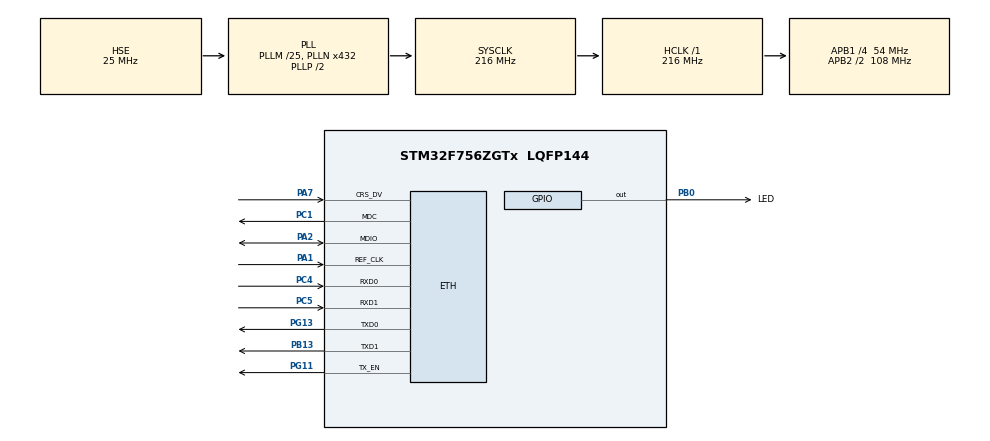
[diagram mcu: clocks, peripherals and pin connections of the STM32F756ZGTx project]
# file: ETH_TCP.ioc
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Mcu.Family=STM32F7
VP_SYS_VS_tim6.Mode=TIM6
RCC.CortexFreq_Value=216000000
CORTEX_M7.BaseAddress-Cortex_Memory_Protection_Unit_Region3_Settings=0x90000000
NVIC.TIM6_DAC_IRQn=true\:0\:0\:false\:false\:true\:false\:false\:true
CORTEX_M7.TypeExtField-Cortex_Memory_Protection_Unit_Region0_Settings=MPU_TEX_LEVEL1
CORTEX_M7.PREFETCH_ENABLE=1
CORTEX_M7.AccessPermission-Cortex_Memory_Protection_Unit_Region2_Settings=MPU_REGION_FULL_ACCESS
PB0.GPIO_Label=LED
PC5.Mode=RMII
PB13.Signal=ETH_TXD1
PG13.Signal=ETH_TXD0
PG11.Signal=ETH_TX_EN
CORTEX_M7.IsBufferable-Cortex_Memory_Protection_Unit_Region3_Settings=MPU_ACCESS_BUFFERABLE
RCC.SYSCLKSource=RCC_SYSCLKSOURCE_PLLCLK
ProjectManager.StackSize=0x400
VP_FREERTOS_VS_CMSIS_V2.Mode=CMSIS_V2
LWIP.NETMASK_ADDRESS=255.255.255.000
CORTEX_M7.Enable-Cortex_Memory_Protection_Unit_Region0_Settings=MPU_REGION_ENABLE
PB0.PinState=GPIO_PIN_RESET
PH0/OSC_IN.Mode=HSE-External-Oscillator
RCC.HCLKFreq_Value=216000000
RCC.APB2TimFreq_Value=216000000
PH1/OSC_OUT.Signal=RCC_OSC_OUT
RCC.AHBFreq_Value=216000000
NVIC.ETH_IRQn=true\:5\:0\:false\:false\:true\:true\:true\:true
RCC.HSE_VALUE=25000000
CORTEX_M7.Size-Cortex_Memory_Protection_Unit_Region2_Settings=MPU_REGION_SIZE_16MB
CORTEX_M7.IsCacheable-Cortex_Memory_Protection_Unit_Region2_Settings=MPU_ACCESS_CACHEABLE
LWIP.MEM_SIZE=10*1024
PG13.Mode=RMII
PH1/OSC_OUT.Mode=HSE-External-Oscillator
CORTEX_M7.DisableExec-Cortex_Memory_Protection_Unit_Region0_Settings=MPU_INSTRUCTION_ACCESS_DISABLE
CORTEX_M7.DisableExec-Cortex_Memory_Protection_Unit_Region1_Settings=MPU_INSTRUCTION_ACCESS_DISABLE
Mcu.Package=LQFP144
FREERTOS.configUSE_NEWLIB_REENTRANT=1
NVIC.TimeBase=TIM6_DAC_IRQn
CORTEX_M7.BaseAddress-Cortex_Memory_Protection_Unit_Region1_Settings=0x90000000
NVIC.TimeBaseIP=TIM6
CORTEX_M7.Size-Cortex_Memory_Protection_Unit_Region1_Settings=MPU_REGION_SIZE_512MB
RCC.APB2CLKDivider=RCC_HCLK_DIV2
RCC.APB1TimFreq_Value=108000000
CORTEX_M7.Enable-Cortex_Memory_Protection_Unit_Region1_Settings=MPU_REGION_ENABLE
PC5.Signal=ETH_RXD1
PB13.Mode=RMII
PC4.Mode=RMII
LWIP.IP_ADDRESS=192.168.002.040
RCC.PLLSourceVirtual=RCC_PLLSOURCE_HSE
CORTEX_M7.AccessPermission-Cortex_Memory_Protection_Unit_Region3_Settings=MPU_REGION_FULL_ACCESS
CORTEX_M7.CPU_ICache=Enabled
FREERTOS.Tasks01=defaultTask,24,1024,StartDefaultTask,Default,NULL,Dynamic,NULL,NULL
PA7.Mode=RMII
CORTEX_M7.IsBufferable-Cortex_Memory_Protection_Unit_Region2_Settings=MPU_ACCESS_BUFFERABLE
PC4.Signal=ETH_RXD0
LWIP.LWIP_DHCP=0
RCC.APB1CLKDivider=RCC_HCLK_DIV4
ETH.PhyAddress=0
CORTEX_M7.BaseAddress-Cortex_Memory_Protection_Unit_Region2_Settings=0x90000000
VP_LWIP_VS_Enabled.Mode=Enabled
LWIP.GATEWAY_ADDRESS=192.168.002.254
CORTEX_M7.MPU_Control=MPU_PRIVILEGED_DEFAULT
ProjectManager.TargetToolchain=STM32CubeIDE
CORTEX_M7.IsCacheable-Cortex_Memory_Protection_Unit_Region3_Settings=MPU_ACCESS_CACHEABLE
CORTEX_M7.BaseAddress-Cortex_Memory_Protection_Unit_Region0_Settings=0x20010000
RCC.USBFreq_Value=216000000
RCC.LSE_VALUE=32768
PA1.Signal=ETH_REF_CLK
CORTEX_M7.Enable-Cortex_Memory_Protection_Unit_Region2_Settings=MPU_REGION_ENABLE
board=custom
RCC.VCOOutputFreq_Value=432000000
PH0/OSC_IN.Signal=RCC_OSC_IN
RCC.APB2Freq_Value=108000000
PA1.Mode=RMII
CORTEX_M7.IsShareable-Cortex_Memory_Protection_Unit_Region0_Settings=MPU_ACCESS_SHAREABLE
CORTEX_M7.AccessPermission-Cortex_Memory_Protection_Unit_Region0_Settings=MPU_REGION_FULL_ACCESS
Mcu.Name=STM32F756ZGTx
CORTEX_M7.Size-Cortex_Memory_Protection_Unit_Region0_Settings=MPU_REGION_SIZE_16KB
PA2.Signal=ETH_MDIO
RCC.SYSCLKFreq_VALUE=216000000
ETH.MediaInterface=ETH_MEDIA_INTERFACE_RMII
PG11.Mode=RMII
ProjectManager.HeapSize=0x200
LWIP.Version=v2.1.2_Cube
CORTEX_M7.Enable-Cortex_Memory_Protection_Unit_Region3_Settings=MPU_REGION_ENABLE
CORTEX_M7.Size-Cortex_Memory_Protection_Unit_Region3_Settings=MPU_REGION_SIZE_1MB
RCC.HSI_VALUE=16000000
CORTEX_M7.DisableExec-Cortex_Memory_Protection_Unit_Region2_Settings=MPU_INSTRUCTION_ACCESS_DISABLE
NVIC.PriorityGroup=NVIC_PRIORITYGROUP_4
RCC.PLLM=25
RCC.PLLN=432
PA2.Mode=RMII
CORTEX_M7.CPU_DCache=Enabled
RCC.APB1Freq_Value=54000000
PB0.Signal=GPIO_Output
PC1.Signal=ETH_MDC
PB0.GPIO_PuPd=GPIO_NOPULL
PC1.Mode=RMII
PA7.Signal=ETH_CRS_DV

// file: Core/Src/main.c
/* USER CODE BEGIN Header */
/**
  ******************************************************************************
  * @file           : main.c
  * @brief          : Main program body
  ******************************************************************************
  * @attention
  *
  * <h2><center>&copy; Copyright (c) 2025 STMicroelectronics.
  * All rights reserved.</center></h2>
  *
  * This software component is licensed by ST under BSD 3-Clause license,
  * the "License"; You may not use this file except in compliance with the
  * License. You may obtain a copy of the License at:
  *                        opensource.org/licenses/BSD-3-Clause
  *
  ******************************************************************************
  */
/* USER CODE END Header */
#include "main.h"
#include "cmsis_os.h"
#include "lwip.h"

/* USER CODE BEGIN Includes */
#include "TCPClient.h"
#include "TCPServer.h"

/* USER CODE END Includes */

/* Definitions for defaultTask */
osThreadId_t defaultTaskHandle;

const osThreadAttr_t defaultTask_attributes = {
  .name = "defaultTask",
  .stack_size = 1024 * 4,
  .priority = (osPriority_t) osPriorityNormal,
};

/* USER CODE BEGIN PV */
osThreadId_t clientTaskHandle;

const osThreadAttr_t clientTask_attributes = {
  .name = "clientTask",
  .stack_size = 1024*4,
    .priority = (osPriority_t) osPriorityNormal,
};

const osThreadAttr_t lwipPump_attributes = {
  .name = "LwipInput",
  .stack_size = 1024 * 4,
  .priority = (osPriority_t) osPriorityHigh,
};

/* USER CODE END PV */

void SystemClock_Config(void);
static void MPU_Config(void);
static void MX_GPIO_Init(void);
void StartDefaultTask(void *argument);

/* USER CODE BEGIN PFP */
void LwipInputTask(void *argument);

/* USER CODE END PFP */

/* USER CODE BEGIN 0 */
extern struct netif gnetif;

/* USER CODE END 0 */

int main(void)
{

  /* MPU Configuration--------------------------------------------------------*/
  MPU_Config();

  /* Enable I-Cache---------------------------------------------------------*/
  SCB_EnableICache();

  /* Enable D-Cache---------------------------------------------------------*/
  SCB_EnableDCache();

  /* MCU Configuration--------------------------------------------------------*/

  /* Reset of all peripherals, Initializes the Flash interface and the Systick. */
  HAL_Init();

  /* Configure the system clock */
  SystemClock_Config();

  /* Initialize all configured peripherals */
  MX_GPIO_Init();
  /* USER CODE BEGIN 2 */
  /* Start DHCP client */

  /* USER CODE END 2 */

  /* Init scheduler */
  osKernelInitialize();

  /* Create the thread(s) */
  /* creation of defaultTask */

  defaultTaskHandle = osThreadNew(StartDefaultTask, NULL, &defaultTask_attributes);

  /* Start scheduler */
  osKernelStart();

  /* We should never get here as control is now taken by the scheduler */
  /* Infinite loop */
  while (1)
  {

  }
}

void SystemClock_Config(void)
{
  RCC_OscInitTypeDef RCC_OscInitStruct = {0};
  RCC_ClkInitTypeDef RCC_ClkInitStruct = {0};

  /** Configure the main internal regulator output voltage
  */
  __HAL_RCC_PWR_CLK_ENABLE();
  __HAL_PWR_VOLTAGESCALING_CONFIG(PWR_REGULATOR_VOLTAGE_SCALE1);
  /** Initializes the RCC Oscillators according to the specified parameters
  * in the RCC_OscInitTypeDef structure.
  */
  RCC_OscInitStruct.OscillatorType = RCC_OSCILLATORTYPE_HSE;
  RCC_OscInitStruct.HSEState = RCC_HSE_ON;
  RCC_OscInitStruct.PLL.PLLState = RCC_PLL_ON;
  RCC_OscInitStruct.PLL.PLLSource = RCC_PLLSOURCE_HSE;
  RCC_OscInitStruct.PLL.PLLM = 25;
  RCC_OscInitStruct.PLL.PLLN = 432;
  RCC_OscInitStruct.PLL.PLLP = RCC_PLLP_DIV2;
  RCC_OscInitStruct.PLL.PLLQ = 2;
  if (HAL_RCC_OscConfig(&RCC_OscInitStruct) != HAL_OK)
  {
    Error_Handler();
  }
  /** Activate the Over-Drive mode
  */
  if (HAL_PWREx_EnableOverDrive() != HAL_OK)
  {
    Error_Handler();
  }
  /** Initializes the CPU, AHB and APB buses clocks
  */
  RCC_ClkInitStruct.ClockType = RCC_CLOCKTYPE_HCLK|RCC_CLOCKTYPE_SYSCLK
                              |RCC_CLOCKTYPE_PCLK1|RCC_CLOCKTYPE_PCLK2;
  RCC_ClkInitStruct.SYSCLKSource = RCC_SYSCLKSOURCE_PLLCLK;
  RCC_ClkInitStruct.AHBCLKDivider = RCC_SYSCLK_DIV1;
  RCC_ClkInitStruct.APB1CLKDivider = RCC_HCLK_DIV4;
  RCC_ClkInitStruct.APB2CLKDivider = RCC_HCLK_DIV2;

  if (HAL_RCC_ClockConfig(&RCC_ClkInitStruct, FLASH_LATENCY_7) != HAL_OK)
  {
    Error_Handler();
  }
}

static void MX_GPIO_Init(void)
{
  GPIO_InitTypeDef GPIO_InitStruct = {0};

  /* GPIO Ports Clock Enable */
  __HAL_RCC_GPIOH_CLK_ENABLE();
  __HAL_RCC_GPIOC_CLK_ENABLE();
  __HAL_RCC_GPIOA_CLK_ENABLE();
  __HAL_RCC_GPIOB_CLK_ENABLE();
  __HAL_RCC_GPIOG_CLK_ENABLE();

  /*Configure GPIO pin Output Level */
  HAL_GPIO_WritePin(LED_GPIO_Port, LED_Pin, GPIO_PIN_RESET);

  /*Configure GPIO pin : LED_Pin */
  GPIO_InitStruct.Pin = LED_Pin;
  GPIO_InitStruct.Mode = GPIO_MODE_OUTPUT_PP;
  GPIO_InitStruct.Pull = GPIO_NOPULL;
  GPIO_InitStruct.Speed = GPIO_SPEED_FREQ_LOW;
  HAL_GPIO_Init(LED_GPIO_Port, &GPIO_InitStruct);

}

/* USER CODE BEGIN 4 */
void LwipInputTask(void *argument)
{
    for(;;)
    {
        ethernetif_input(&gnetif);   // lees inkomende frames
        sys_check_timeouts();        // verwerk LWIP timers
        osDelay(1);
    }
}
/* USER CODE END 4 */

void StartDefaultTask(void *argument)
{
  /* init code for LWIP */
  MX_LWIP_Init();
  /* USER CODE BEGIN 5 */

  /* Wait for Ethernet link up */
  while(!netif_is_link_up(&gnetif)) {
      osDelay(100);

  }
  printf("Ethernet link is up!\r\n");

  tcp_server_init();

  // Start server and client
  clientTaskHandle  = osThreadNew(tcp_client, NULL, &clientTask_attributes);
  /* Infinite loop */
  for(;;)
  {
      osDelay(500);
  }
  /* USER CODE END 5 */
}

/* MPU Configuration */

void MPU_Config(void)
{
  MPU_Region_InitTypeDef MPU_InitStruct = {0};

  /* Disables the MPU */
  HAL_MPU_Disable();
  /** Initializes and configures the Region and the memory to be protected
  */
  MPU_InitStruct.Enable = MPU_REGION_ENABLE;
  MPU_InitStruct.Number = MPU_REGION_NUMBER0;
  MPU_InitStruct.BaseAddress = 0x20010000;
  MPU_InitStruct.Size = MPU_REGION_SIZE_16KB;
  MPU_InitStruct.SubRegionDisable = 0x0;
  MPU_InitStruct.TypeExtField = MPU_TEX_LEVEL1;
  MPU_InitStruct.AccessPermission = MPU_REGION_FULL_ACCESS;
  MPU_InitStruct.DisableExec = MPU_INSTRUCTION_ACCESS_DISABLE;
  MPU_InitStruct.IsShareable = MPU_ACCESS_SHAREABLE;
  MPU_InitStruct.IsCacheable = MPU_ACCESS_NOT_CACHEABLE;
  MPU_InitStruct.IsBufferable = MPU_ACCESS_NOT_BUFFERABLE;

  HAL_MPU_ConfigRegion(&MPU_InitStruct);
  /** Initializes and configures the Region and the memory to be protected
  */
  MPU_InitStruct.Number = MPU_REGION_NUMBER1;
  MPU_InitStruct.BaseAddress = 0x90000000;
  MPU_InitStruct.Size = MPU_REGION_SIZE_512MB;
  MPU_InitStruct.TypeExtField = MPU_TEX_LEVEL0;
  MPU_InitStruct.AccessPermission = MPU_REGION_NO_ACCESS;
  MPU_InitStruct.IsShareable = MPU_ACCESS_NOT_SHAREABLE;

  HAL_MPU_ConfigRegion(&MPU_InitStruct);
  /** Initializes and configures the Region and the memory to be protected
  */
  MPU_InitStruct.Number = MPU_REGION_NUMBER2;
  MPU_InitStruct.Size = MPU_REGION_SIZE_16MB;
  MPU_InitStruct.AccessPermission = MPU_REGION_FULL_ACCESS;
  MPU_InitStruct.IsCacheable = MPU_ACCESS_CACHEABLE;
  MPU_InitStruct.IsBufferable = MPU_ACCESS_BUFFERABLE;

  HAL_MPU_ConfigRegion(&MPU_InitStruct);
  /** Initializes and configures the Region and the memory to be protected
  */
  MPU_InitStruct.Number = MPU_REGION_NUMBER3;
  MPU_InitStruct.Size = MPU_REGION_SIZE_1MB;
  MPU_InitStruct.DisableExec = MPU_INSTRUCTION_ACCESS_ENABLE;

  HAL_MPU_ConfigRegion(&MPU_InitStruct);
  /* Enables the MPU */
  HAL_MPU_Enable(MPU_PRIVILEGED_DEFAULT);

}
void HAL_TIM_PeriodElapsedCallback(TIM_HandleTypeDef *htim)
{
  if (htim->Instance == TIM6) {
    HAL_IncTick();
  }
}

void Error_Handler(void)
{
  __disable_irq();
  while (1)
  {
  }
}

/************************ (C) COPYRIGHT STMicroelectronics *****END OF FILE****/
